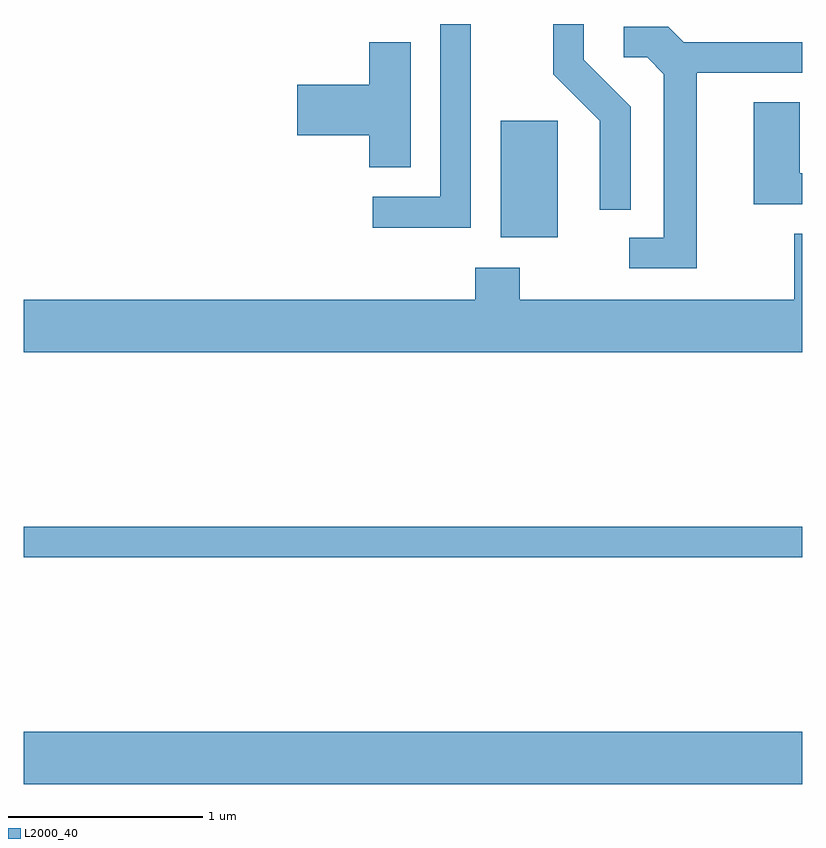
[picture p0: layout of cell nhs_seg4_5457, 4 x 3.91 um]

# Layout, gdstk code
import gdstk
lib = gdstk.Library(unit=1e-6, precision=1e-09)
def R(c, l, rs):  # rectangles x0, y0, x1, y1
    for r in rs: c.add(gdstk.rectangle(r[:2], r[2:], *l))
def P(c, l, *ps):  # polygons
    for p in ps: c.add(gdstk.Polygon(p, *l))
L2000_40 = (2000, 40)

nhs_seg4_5457 = lib.new_cell('nhs_seg4_5457')
R(nhs_seg4_5457, L2000_40, [(345.611,1288.076,349.611,1288.344), (345.611,1289.241,349.611,1289.399), (348.061,1290.886,348.354,1291.484)])
P(nhs_seg4_5457, L2000_40, [(347.909,1291.982),(347.751,1291.982),(347.751,1291.094),(347.403,1291.094),(347.403,1290.936),(347.909,1290.936)],
  [(348.729,1291.557),(348.489,1291.797),(348.489,1291.982),(348.331,1291.982),(348.331,1291.724),(348.571,1291.484),(348.571,1291.028),(348.729,1291.028)],
  [(349.069,1291.731),(349.611,1291.731),(349.611,1291.889),(349.002,1291.889),(348.922,1291.969),(348.693,1291.969),(348.693,1291.811),(348.814,1291.811),(348.901,1291.724),(348.901,1290.884),(348.723,1290.884),(348.723,1290.726),(349.069,1290.726)],
  [(347.599,1291.889),(347.386,1291.889),(347.386,1291.669),(347.016,1291.669),(347.016,1291.411),(347.386,1291.411),(347.386,1291.246),(347.599,1291.246)],
  [(349.611,1291.214),(349.599,1291.214),(349.599,1291.579),(349.361,1291.579),(349.361,1291.056),(349.611,1291.056)],
  [(349.611,1290.904),(349.571,1290.904),(349.571,1290.564),(348.159,1290.564),(348.159,1290.729),(347.931,1290.729),(347.931,1290.564),(345.611,1290.564),(345.611,1290.296),(349.611,1290.296)])

lib.write_gds('nhs_seg4_5457.gds')
